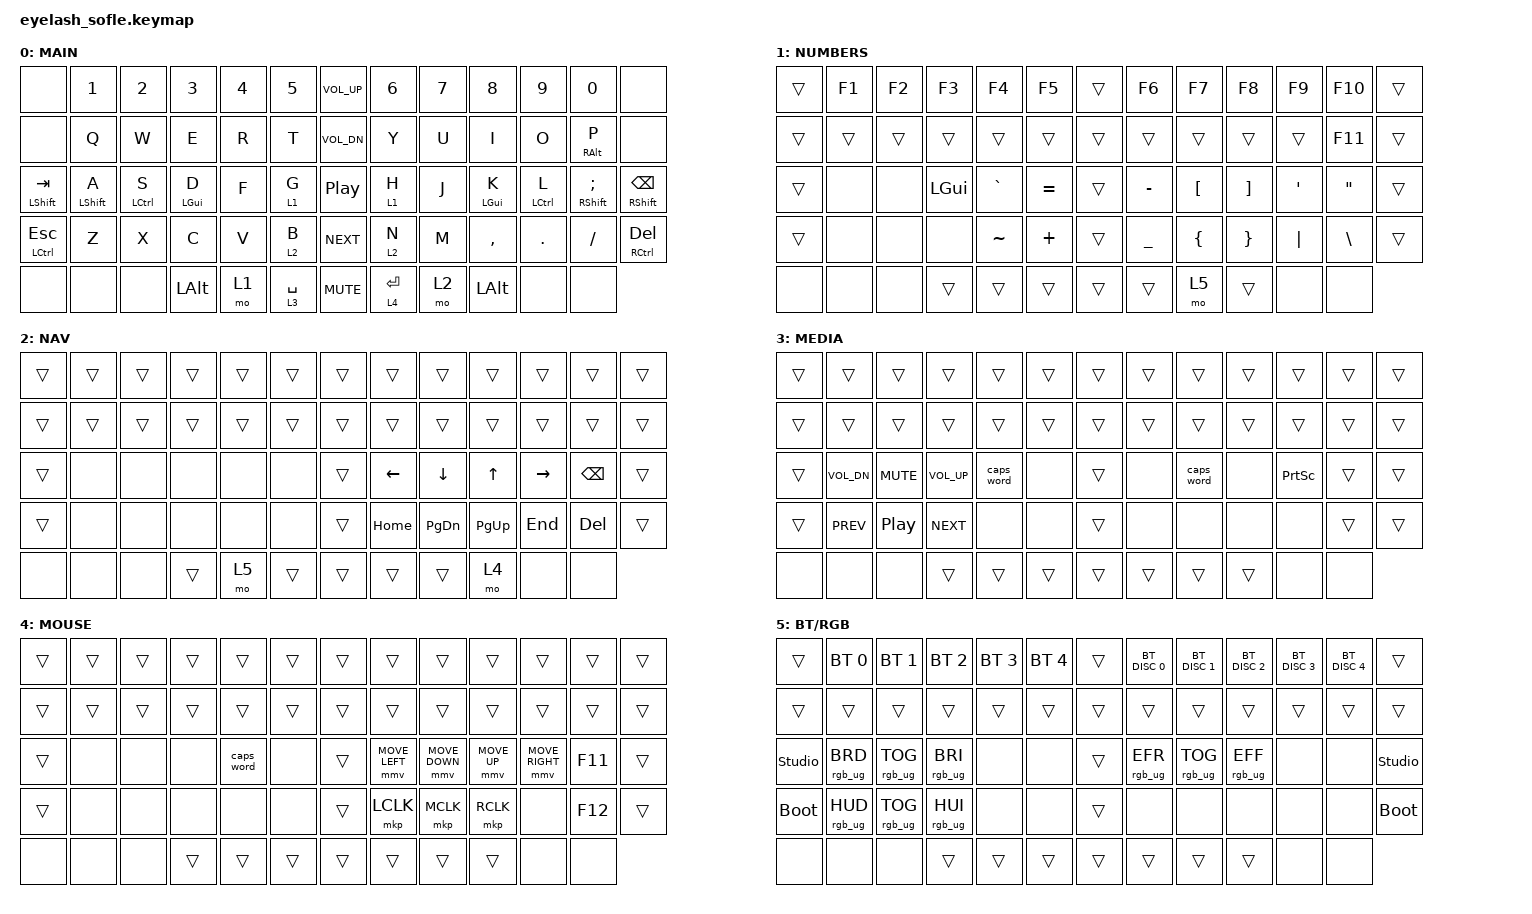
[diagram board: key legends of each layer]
/*
 * Copyright (c) 2020 The ZMK Contributors
 *
 * SPDX-License-Identifier: MIT
 */

#include <dt-bindings/zmk/mouse.h>
#include <input/processors.dtsi>
#include <behaviors.dtsi>
#include <dt-bindings/zmk/keys.h>
#include <dt-bindings/zmk/bt.h>
#include <dt-bindings/zmk/pointing.h>
#include <dt-bindings/zmk/rgb.h>
#include "key-labels/eyelash_sofle.h"
#include "behaviors.dtsi"

/ {
    combos {
        compatible = "zmk,combos";

        combo_df {
            timeout-ms = <50>;
            require-prior-idle-ms = <50>;
            key-positions = <29 30>;
            bindings = <&kp ESC>;
        };

        combo_jk {
            timeout-ms = <50>;
            require-prior-idle-ms = <50>;
            key-positions = <34 35>;
            bindings = <&kp ESC>;
        };

        combo_ksemicolon {
            timeout-ms = <50>;
            require-prior-idle-ms = <50>;
            key-positions = <35 37>;
            bindings = <&kp COLON>;
        };

        combo_kslash {
            timeout-ms = <50>;
            require-prior-idle-ms = <50>;
            key-positions = <35 50>;
            bindings = <&kp QUESTION>;
        };

        combo_caps_word {
            timeout-ms = <50>;
            key-positions = <LM4 RM4>;
            bindings = <&caps_word>;
        };
    };

    keymap {
        compatible = "zmk,keymap";

        default_layer {
            display-name = "MAIN";
            bindings = <
&none           &kp N1          &kp N2          &kp N3          &kp N4          &kp N5          &kp C_VOL_UP    &kp N6          &kp N7          &kp N8          &kp N9          &kp N0              &none
&none           &kp Q           &kp W           &kp E           &kp R           &kp T           &kp C_VOL_DN    &kp Y           &kp U           &kp I           &kp O           &hmr RALT P         &none
&mt LSHIFT TAB  &hml LSHIFT A   &hml LCTRL S    &hml LGUI D     &kp F           &ltq 1 G        &kp C_PP        &ltq 1 H        &kp J           &hmr LGUI K     &hmr LCTRL L    &hmr RSHIFT SEMI    &mtq RSHIFT BSPC
&mt LCTRL ESC   &kp Z           &kp X           &kp C           &kp V           &ltq 2 B        &kp C_NEXT      &ltq 2 N        &kp M           &kp COMMA       &kp DOT         &kp FSLH            &mtq RCTRL DEL
&none           &none           &none           &kp LALT        &mo 1           &lts 3 SPACE    &kp C_MUTE      &lts 4 RET      &mo 2           &kp LALT        &none           &none
            >;
        };

        numbers_layer { // 1
            display-name = "NUMBERS";
            bindings = <
&trans          &kp F1          &kp F2          &kp F3          &kp F4          &kp F5          &trans          &kp F6          &kp F7          &kp F8          &kp F9          &kp F10         &trans
&trans          &trans          &trans          &trans          &trans          &trans          &trans          &trans          &trans          &trans          &trans          &kp F11         &trans
&trans          &none           &none           &kp LGUI        &kp GRAVE       &kp EQUAL       &trans          &kp MINUS       &kp LBKT        &kp RBKT        &kp SQT         &kp DQT         &trans
&trans          &none           &none           &none           &kp TILDE       &kp PLUS        &trans          &kp UNDER       &kp LBRC        &kp RBRC        &kp PIPE        &kp BSLH        &trans
&none           &none           &none           &trans          &trans          &trans          &trans          &trans          &mo 5           &trans          &none           &none
            >;
        };

        nav_layer { // 2
            display-name = "NAV";
            bindings = <
&trans          &trans          &trans          &trans          &trans          &trans          &trans          &trans          &trans          &trans          &trans          &trans          &trans
&trans          &trans          &trans          &trans          &trans          &trans          &trans          &trans          &trans          &trans          &trans          &trans          &trans
&trans          &none           &none           &none           &none           &none           &trans          &kp LEFT        &kp DOWN        &kp UP          &kp RIGHT       &kp BSPC        &trans
&trans          &none           &none           &none           &none           &none           &trans          &kp HOME        &kp PG_DN       &kp PG_UP       &kp END         &kp DEL         &trans
&none           &none           &none           &trans          &mo 5           &trans          &trans          &trans          &trans          &mo 4           &none           &none
            >;
        };

        extra1_layer { // 3
            display-name = "MEDIA";
            bindings = <
&trans          &trans          &trans          &trans          &trans          &trans          &trans          &trans          &trans          &trans          &trans          &trans          &trans
&trans          &trans          &trans          &trans          &trans          &trans          &trans          &trans          &trans          &trans          &trans          &trans          &trans
&trans          &kp C_VOL_DN    &kp C_MUTE      &kp C_VOL_UP    &caps_word      &none           &trans          &none           &caps_word      &none           &kp PSCRN       &trans          &trans
&trans          &kp C_PREV      &kp C_PP        &kp C_NEXT      &none           &none           &trans          &none           &none           &none           &none           &trans          &trans
&none           &none           &none           &trans          &trans          &trans          &trans          &trans          &trans          &trans          &none           &none
            >;
        };

        extra2_layer { // 4
            display-name = "MOUSE";
            bindings = <
&trans          &trans          &trans          &trans          &trans          &trans          &trans          &trans          &trans          &trans          &trans          &trans          &trans
&trans          &trans          &trans          &trans          &trans          &trans          &trans          &trans          &trans          &trans          &trans          &trans          &trans
&trans          &none           &none           &none           &caps_word      &none           &trans          &mmv MOVE_LEFT  &mmv MOVE_DOWN  &mmv MOVE_UP    &mmv MOVE_RIGHT &kp F11         &trans
&trans          &none           &none           &none           &none           &none           &trans          &mkp LCLK       &mkp MCLK       &mkp RCLK       &none           &kp F12         &trans
&none           &none           &none           &trans          &trans          &trans          &trans          &trans          &trans          &trans          &none           &none
            >;
        };

        btrgb_layer { // 5
            display-name = "BT/RGB";
            bindings = <
&trans          &bt BT_SEL 0    &bt BT_SEL 1    &bt BT_SEL 2    &bt BT_SEL 3    &bt BT_SEL 4    &trans          &bt BT_DISC 0   &bt BT_DISC 1   &bt BT_DISC 2   &bt BT_DISC 3   &bt BT_DISC 4   &trans
&trans          &trans          &trans          &trans          &trans          &trans          &trans          &trans          &trans          &trans          &trans          &trans          &trans
&studio_unlock  &rgb_ug RGB_BRD &rgb_ug RGB_TOG &rgb_ug RGB_BRI &none           &none           &trans          &rgb_ug RGB_EFR &rgb_ug RGB_TOG &rgb_ug RGB_EFF &none           &none           &studio_unlock
&bootloader     &rgb_ug RGB_HUD &rgb_ug RGB_TOG &rgb_ug RGB_HUI &none           &none           &trans          &none           &none           &none           &none           &none           &bootloader
&none           &none           &none           &trans          &trans          &trans          &trans          &trans          &trans          &trans          &none           &none
            >;
        };
    };
};
